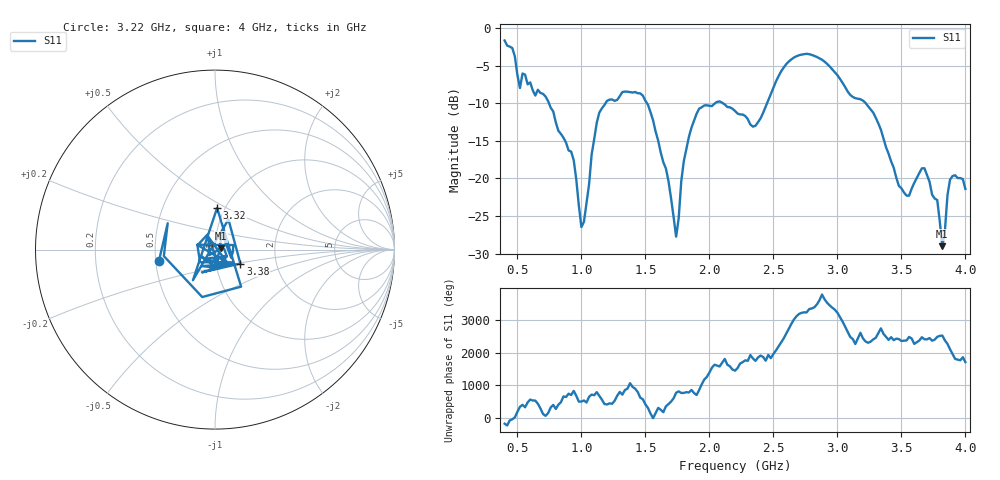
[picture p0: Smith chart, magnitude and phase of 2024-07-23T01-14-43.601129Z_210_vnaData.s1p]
!Created with skrf (http://scikit-rf.org).
# Hz S RI R 50.0
!freq ReS11 ImS11
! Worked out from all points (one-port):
!   181 points, 400 MHz to 4 GHz, reference 50 ohm
!   lowest |S11| = -29.0 dB at 3.82 GHz (marker M1), VSWR 1.07, Z = 53.6 + j0.761 ohm
!   |S11| at or under -10 dB: 746.3 MHz to 1.189 GHz (442.3 MHz wide, 45.7 % of centre); 1.512 GHz to 2.045 GHz (532.6 MHz wide, 29.9 % of centre); 3.222 GHz to end of sweep (the widest 3 of 4)
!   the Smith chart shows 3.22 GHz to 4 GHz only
!   S11 on the Smith chart (normalised r, x): 3.22 GHz: 0.52, -0.07; 3.32 GHz: 0.92, +0.45; 3.38 GHz: 1.31, -0.21; 4 GHz: 1.01, -0.17
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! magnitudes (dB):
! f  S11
! 400 MHz  -1.7
! 520 MHz  -8.0
! 720 MHz  -9.1
! 860 MHz  -14.6
! 940 MHz  -17.6
! 1 GHz  -26.5
! 1.14 GHz  -11.2
! 1.3 GHz  -9.1
! 1.52 GHz  -10.2
! 1.66 GHz  -18.7
! 1.74 GHz  -27.7
! 1.76 GHz  -25.3
! 1.8 GHz  -17.7
! 1.92 GHz  -10.7
! 2.2 GHz  -11.0
! 2.36 GHz  -13.0
! 2.66 GHz  -3.9
! 2.88 GHz  -4.2
! 3.1 GHz  -8.9
! 3.22 GHz  -10.0
! 3.32 GHz  -12.7
! 3.38 GHz  -15.8
! 3.56 GHz  -22.3
! 3.68 GHz  -18.6
! 3.78 GHz  -22.9
! 3.82 GHz  -29.0
! 3.88 GHz  -20.2
! 4 GHz  -21.4
